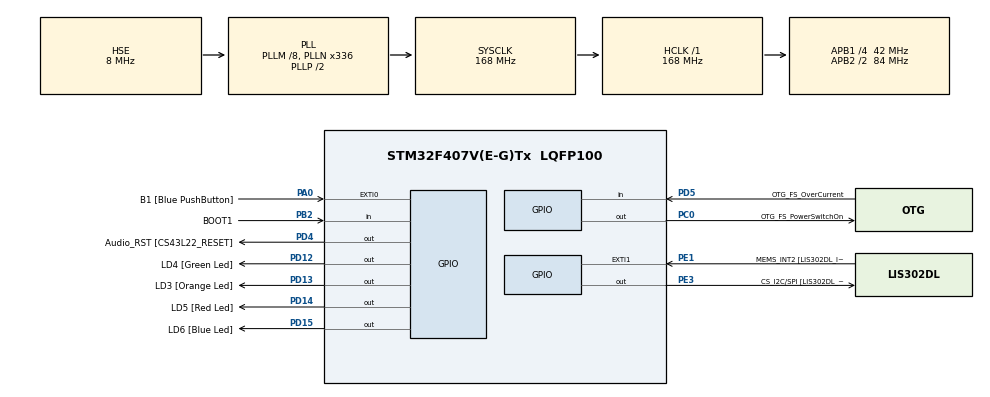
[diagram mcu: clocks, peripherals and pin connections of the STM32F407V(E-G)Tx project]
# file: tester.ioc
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Mcu.Family=STM32F4
Mcu.Name=STM32F407V(E-G)Tx
Mcu.Package=LQFP100
NVIC.PriorityGroup=NVIC_PRIORITYGROUP_0
PA0-WKUP.GPIO_Label=B1 [Blue PushButton]
PA0-WKUP.GPIO_ModeDefaultEXTI=GPIO_MODE_EVT_RISING
PA0-WKUP.GPIO_PuPd=GPIO_NOPULL
PA0-WKUP.Signal=GPXTI0
PA10.GPIO_Label=OTG_FS_ID
PA10.GPIO_Mode=GPIO_MODE_AF_PP
PA10.GPIO_PuPd=GPIO_NOPULL
PA10.GPIO_Speed=GPIO_SPEED_LOW
PA10.Signal=USB_OTG_FS_ID
PA11.GPIO_Label=OTG_FS_DM
PA11.GPIO_Mode=GPIO_MODE_AF_PP
PA11.GPIO_PuPd=GPIO_NOPULL
PA11.GPIO_Speed=GPIO_SPEED_LOW
PA11.Signal=USB_OTG_FS_DM
PA12.GPIO_Label=OTG_FS_DP
PA12.GPIO_Mode=GPIO_MODE_AF_PP
PA12.GPIO_PuPd=GPIO_NOPULL
PA12.GPIO_Speed=GPIO_SPEED_LOW
PA12.Signal=USB_OTG_FS_DP
PA13.GPIO_Label=SWDIO
PA13.Mode=Trace-Asynchronous_SW
PA13.Signal=SYS_JTMS-SWDIO
PA14.GPIO_Label=SWCLK
PA14.Mode=Trace-Asynchronous_SW
PA14.Signal=SYS_JTCK-SWCLK
PA4.GPIO_Label=I2S3_WS [CS43L22_LRCK]
PA4.GPIO_Mode=GPIO_MODE_AF_PP
PA4.GPIO_PuPd=GPIO_NOPULL
PA4.GPIO_Speed=GPIO_SPEED_LOW
PA4.Signal=I2S3_WS
PA5.GPIO_Label=SPI1_SCK [LIS302DL_SCL/SPC]
PA5.GPIO_Mode=GPIO_MODE_AF_PP
PA5.GPIO_PuPd=GPIO_NOPULL
PA5.GPIO_Speed=GPIO_SPEED_LOW
PA5.Signal=SPI1_SCK
PA6.GPIO_Label=SPI1_MISO [LIS302DL_SDO]
PA6.GPIO_Mode=GPIO_MODE_AF_PP
PA6.GPIO_PuPd=GPIO_NOPULL
PA6.GPIO_Speed=GPIO_SPEED_LOW
PA6.Signal=SPI1_MISO
PA7.GPIO_Label=SPI1_MOSI [LIS302DL_SDA/SDI/SDO]
PA7.GPIO_Mode=GPIO_MODE_AF_PP
PA7.GPIO_PuPd=GPIO_NOPULL
PA7.GPIO_Speed=GPIO_SPEED_LOW
PA7.Signal=SPI1_MOSI
PA9.GPIO_Label=VBUS_FS
PA9.GPIO_Mode=GPIO_MODE_INPUT
PA9.GPIO_PuPd=GPIO_NOPULL
PA9.Signal=USB_OTG_FS_VBUS
PB10.GPIO_Label=CLK_IN [MP45DT02_CLK]
PB10.GPIO_Mode=GPIO_MODE_AF_PP
PB10.GPIO_PuPd=GPIO_NOPULL
PB10.GPIO_Speed=GPIO_SPEED_LOW
PB10.Signal=I2S2_CK
PB2.GPIO_Label=BOOT1
PB2.GPIO_Mode=GPIO_MODE_INPUT
PB2.GPIO_PuPd=GPIO_NOPULL
PB2.Signal=GPIO_Input
PB3.GPIO_Label=SWO
PB3.Mode=Trace-Asynchronous_SW
PB3.Signal=SYS_JTDO-SWO
PB6.GPIO_Label=Audio_SCL [CS43L22_SCL]
PB6.GPIO_Mode=GPIO_MODE_AF_OD
PB6.GPIO_PuPd=GPIO_NOPULL
PB6.GPIO_Speed=GPIO_SPEED_LOW
PB6.Signal=I2C1_SCL
PB9.GPIO_Label=Audio_SDA [CS43L22_SDA]
PB9.GPIO_Mode=GPIO_MODE_AF_OD
PB9.GPIO_PuPd=GPIO_NOPULL
PB9.GPIO_Speed=GPIO_SPEED_LOW
PB9.Signal=I2C1_SDA
PC0.GPIO_Label=OTG_FS_PowerSwitchOn
PC0.GPIO_PuPd=GPIO_NOPULL
PC0.GPIO_Speed=GPIO_SPEED_LOW
PC0.Signal=GPIO_Output
PC10.GPIO_Label=I2S3_SCK [CS43L22_SCLK]
PC10.GPIO_Mode=GPIO_MODE_AF_PP
PC10.GPIO_PuPd=GPIO_NOPULL
PC10.GPIO_Speed=GPIO_SPEED_LOW
PC10.Signal=I2S3_CK
PC12.GPIO_Label=I2S3_SD [CS43L22_SDIN]
PC12.GPIO_Mode=GPIO_MODE_AF_PP
PC12.GPIO_PuPd=GPIO_NOPULL
PC12.GPIO_Speed=GPIO_SPEED_LOW
PC12.Signal=I2S3_SD
PC14-OSC32_IN.GPIO_Label=PC14-OSC32_IN
PC14-OSC32_IN.Signal=RCC_OSC32_IN
PC15-OSC32_OUT.GPIO_Label=PC15-OSC32_OUT
PC15-OSC32_OUT.Signal=RCC_OSC32_OUT
PC3.GPIO_Label=PDM_OUT [MP45DT02_DOUT]
PC3.GPIO_Mode=GPIO_MODE_AF_PP
PC3.GPIO_PuPd=GPIO_NOPULL
PC3.GPIO_Speed=GPIO_SPEED_LOW
PC3.Signal=I2S2_SD
PC7.GPIO_Label=I2S3_MCK [CS43L22_MCLK]
PC7.GPIO_Mode=GPIO_MODE_AF_PP
PC7.GPIO_PuPd=GPIO_NOPULL
PC7.GPIO_Speed=GPIO_SPEED_LOW
PC7.Signal=I2S3_MCK
PD12.GPIO_Label=LD4 [Green Led]
PD12.GPIO_PuPd=GPIO_NOPULL
PD12.GPIO_Speed=GPIO_SPEED_LOW
PD12.Signal=GPIO_Output
PD13.GPIO_Label=LD3 [Orange Led]
PD13.GPIO_PuPd=GPIO_NOPULL
PD13.GPIO_Speed=GPIO_SPEED_LOW
PD13.Signal=GPIO_Output
PD14.GPIO_Label=LD5 [Red Led]
PD14.GPIO_PuPd=GPIO_NOPULL
PD14.GPIO_Speed=GPIO_SPEED_LOW
PD14.Signal=GPIO_Output
PD15.GPIO_Label=LD6 [Blue Led]
PD15.GPIO_PuPd=GPIO_NOPULL
PD15.GPIO_Speed=GPIO_SPEED_LOW
PD15.Signal=GPIO_Output
PD4.GPIO_Label=Audio_RST [CS43L22_RESET]
PD4.GPIO_PuPd=GPIO_NOPULL
PD4.GPIO_Speed=GPIO_SPEED_LOW
PD4.Signal=GPIO_Output
PD5.GPIO_Label=OTG_FS_OverCurrent
PD5.GPIO_Mode=GPIO_MODE_INPUT
PD5.GPIO_PuPd=GPIO_NOPULL
PD5.Signal=GPIO_Input
PE1.GPIO_Label=MEMS_INT2 [LIS302DL_INT2]
PE1.GPIO_ModeDefaultEXTI=GPIO_MODE_EVT_RISING
PE1.GPIO_PuPd=GPIO_NOPULL
PE1.Signal=GPXTI1
PE3.GPIO_Label=CS_I2C/SPI [LIS302DL_CS_I2C/SPI]
PE3.GPIO_PuPd=GPIO_NOPULL
PE3.GPIO_Speed=GPIO_SPEED_LOW
PE3.Signal=GPIO_Output
PH0-OSC_IN.GPIO_Label=PH0-OSC_IN
PH0-OSC_IN.Mode=HSE-External-Oscillator
PH0-OSC_IN.Signal=RCC_OSC_IN
PH1-OSC_OUT.GPIO_Label=PH1-OSC_OUT
PH1-OSC_OUT.Mode=HSE-External-Oscillator
PH1-OSC_OUT.Signal=RCC_OSC_OUT
ProjectManager.TargetToolchain=SW4STM32
RCC.48MHZClocksFreq_Value=48000000
RCC.AHBFreq_Value=168000000
RCC.APB1CLKDivider=RCC_HCLK_DIV4
RCC.APB1Freq_Value=42000000
RCC.APB1TimFreq_Value=84000000
RCC.APB2CLKDivider=RCC_HCLK_DIV2
RCC.APB2Freq_Value=84000000
RCC.APB2TimFreq_Value=168000000
RCC.CortexFreq_Value=168000000
RCC.HCLKFreq_Value=168000000
RCC.HSE_VALUE=8000000
RCC.HSI_VALUE=16000000
RCC.LSE_VALUE=32768
RCC.PLLM=8
RCC.PLLN=336
RCC.PLLQ=7
RCC.PLLSourceVirtual=RCC_PLLSOURCE_HSE
RCC.SYSCLKFreq_VALUE=168000000
RCC.SYSCLKSource=RCC_SYSCLKSOURCE_PLLCLK
RCC.VCOOutputFreq_Value=336000000
VP_RNG_VS_RNG.Mode=RNG_Activate
board=STM32F4DISCOVERY

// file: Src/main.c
/**
  ******************************************************************************
  * File Name          : main.c
  * Description        : Main program body
  ******************************************************************************
  *
  * COPYRIGHT(c) 2015 STMicroelectronics
  *
  * Redistribution and use in source and binary forms, with or without modification,
  * are permitted provided that the following conditions are met:
  *   1. Redistributions of source code must retain the above copyright notice,
  *      this list of conditions and the following disclaimer.
  *   2. Redistributions in binary form must reproduce the above copyright notice,
  *      this list of conditions and the following disclaimer in the documentation
  *      and/or other materials provided with the distribution.
  *   3. Neither the name of STMicroelectronics nor the names of its contributors
  *      may be used to endorse or promote products derived from this software
  *      without specific prior written permission.
  *
  * THIS SOFTWARE IS PROVIDED BY THE COPYRIGHT HOLDERS AND CONTRIBUTORS "AS IS"
  * AND ANY EXPRESS OR IMPLIED WARRANTIES, INCLUDING, BUT NOT LIMITED TO, THE
  * IMPLIED WARRANTIES OF MERCHANTABILITY AND FITNESS FOR A PARTICULAR PURPOSE ARE
  * DISCLAIMED. IN NO EVENT SHALL THE COPYRIGHT HOLDER OR CONTRIBUTORS BE LIABLE
  * FOR ANY DIRECT, INDIRECT, INCIDENTAL, SPECIAL, EXEMPLARY, OR CONSEQUENTIAL
  * DAMAGES (INCLUDING, BUT NOT LIMITED TO, PROCUREMENT OF SUBSTITUTE GOODS OR
  * SERVICES; LOSS OF USE, DATA, OR PROFITS; OR BUSINESS INTERRUPTION) HOWEVER
  * CAUSED AND ON ANY THEORY OF LIABILITY, WHETHER IN CONTRACT, STRICT LIABILITY,
  * OR TORT (INCLUDING NEGLIGENCE OR OTHERWISE) ARISING IN ANY WAY OUT OF THE USE
  * OF THIS SOFTWARE, EVEN IF ADVISED OF THE POSSIBILITY OF SUCH DAMAGE.
  *
  ******************************************************************************
  */
#include "stm32f4xx_hal.h"
#include "rng.h"
#include "gpio.h"

/* USER CODE BEGIN PV */
/* Private variables ---------------------------------------------------------*/

/* USER CODE END PV */

void SystemClock_Config(void);

/* USER CODE BEGIN PFP */
/* Private function prototypes -----------------------------------------------*/

/* USER CODE END PFP */

/* USER CODE BEGIN 0 */
#define FORWARD 1
#define REVERSE -1
/* USER CODE END 0 */

int main(void)
{

  /* USER CODE BEGIN 1 */
  volatile uint8_t counter = 4;
  uint32_t count;
  volatile int direction = FORWARD;
  uint16_t delay = 50;
  volatile uint8_t step = 0;
  uint16_t steps[4] = {0x1000, 0x2000, 0x4000, 0x8000};
  /* USER CODE END 1 */

  /* MCU Configuration----------------------------------------------------------*/

  /* Reset of all peripherals, Initializes the Flash interface and the Systick. */
  HAL_Init();

  /* Configure the system clock */
  SystemClock_Config();

  /* Initialize all configured peripherals */
  MX_GPIO_Init();
  MX_RNG_Init();

  /* Infinite loop */
  while (1)
  {

  /* USER CODE BEGIN 3 */
	step = (step + direction) & 0x03;
    GPIOD->ODR = steps[step];
    if (--counter == 0)
    {
      HAL_RNG_GenerateRandomNumber(&hrng, &count);
      counter = 0x0000000F & count + 1;
      if (direction == FORWARD)
        direction = REVERSE;
      else
        direction = FORWARD;
    }
    if (HAL_GPIO_ReadPin(GPIOA, GPIO_PIN_0))
    {
      HAL_Delay(200);
      delay += 50;
    }
    HAL_Delay(delay);
  }
  /* USER CODE END 3 */

}

/** System Clock Configuration
*/
void SystemClock_Config(void)
{

  RCC_OscInitTypeDef RCC_OscInitStruct;
  RCC_ClkInitTypeDef RCC_ClkInitStruct;

  __PWR_CLK_ENABLE();

  __HAL_PWR_VOLTAGESCALING_CONFIG(PWR_REGULATOR_VOLTAGE_SCALE1);

  RCC_OscInitStruct.OscillatorType = RCC_OSCILLATORTYPE_HSE;
  RCC_OscInitStruct.HSEState = RCC_HSE_ON;
  RCC_OscInitStruct.PLL.PLLState = RCC_PLL_ON;
  RCC_OscInitStruct.PLL.PLLSource = RCC_PLLSOURCE_HSE;
  RCC_OscInitStruct.PLL.PLLM = 8;
  RCC_OscInitStruct.PLL.PLLN = 336;
  RCC_OscInitStruct.PLL.PLLP = RCC_PLLP_DIV2;
  RCC_OscInitStruct.PLL.PLLQ = 7;
  HAL_RCC_OscConfig(&RCC_OscInitStruct);

  RCC_ClkInitStruct.ClockType = RCC_CLOCKTYPE_SYSCLK|RCC_CLOCKTYPE_PCLK1
                              |RCC_CLOCKTYPE_PCLK2;
  RCC_ClkInitStruct.SYSCLKSource = RCC_SYSCLKSOURCE_PLLCLK;
  RCC_ClkInitStruct.AHBCLKDivider = RCC_SYSCLK_DIV1;
  RCC_ClkInitStruct.APB1CLKDivider = RCC_HCLK_DIV4;
  RCC_ClkInitStruct.APB2CLKDivider = RCC_HCLK_DIV2;
  HAL_RCC_ClockConfig(&RCC_ClkInitStruct, FLASH_LATENCY_5);

  HAL_SYSTICK_Config(HAL_RCC_GetHCLKFreq()/1000);

  HAL_SYSTICK_CLKSourceConfig(SYSTICK_CLKSOURCE_HCLK);

}

/************************ (C) COPYRIGHT STMicroelectronics *****END OF FILE****/
